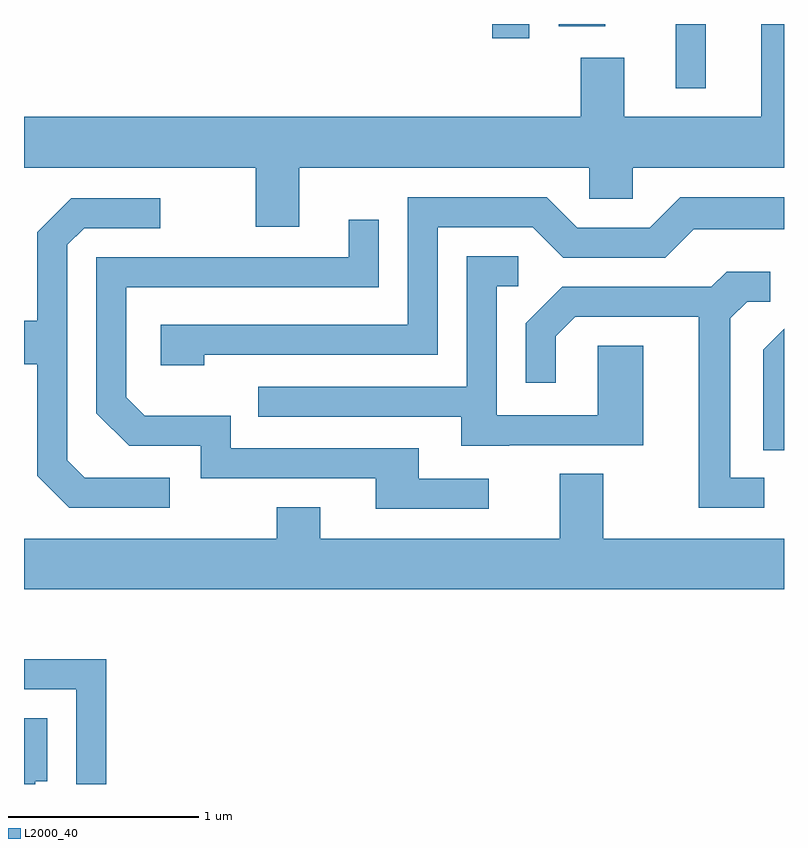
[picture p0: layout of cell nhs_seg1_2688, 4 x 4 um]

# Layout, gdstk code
import gdstk
lib = gdstk.Library(unit=1e-6, precision=1e-09)
def R(c, l, rs):  # rectangles x0, y0, x1, y1
    for r in rs: c.add(gdstk.rectangle(r[:2], r[2:], *l))
def P(c, l, *ps):  # polygons
    for p in ps: c.add(gdstk.Polygon(p, *l))
L2000_40 = (2000, 40)

nhs_seg1_2688 = lib.new_cell('nhs_seg1_2688')
R(nhs_seg1_2688, L2000_40, [(271.041,853.373,271.199,853.712), (270.076,853.636,270.269,853.712), (270.426,853.701,270.669,853.712)])
P(nhs_seg1_2688, L2000_40, [(269.059,852.956),(270.586,852.956),(270.586,852.791),(270.814,852.791),(270.814,852.956),(271.611,852.956),(271.611,853.712),(271.491,853.712),(271.491,853.224),(270.769,853.224),(270.769,853.534),(270.541,853.534),(270.541,853.224),(267.611,853.224),(267.611,852.956),(268.831,852.956),(268.831,852.646),(269.059,852.646)],
  [(268.559,851.971),(269.789,851.971),(269.789,852.641),(270.289,852.641),(270.449,852.481),(270.987,852.481),(271.137,852.631),(271.611,852.631),(271.611,852.799),(271.064,852.799),(270.904,852.639),(270.522,852.639),(270.362,852.799),(269.631,852.799),(269.631,852.129),(268.331,852.129),(268.331,851.916),(268.559,851.916)],
  [(268.378,851.324),(267.932,851.324),(267.839,851.417),(267.839,852.549),(267.927,852.636),(268.328,852.636),(268.328,852.794),(267.859,852.794),(267.681,852.617),(267.681,852.149),(267.611,852.149),(267.611,851.921),(267.681,851.921),(267.681,851.334),(267.849,851.166),(268.378,851.166)],
  [(270.058,851.319),(269.689,851.319),(269.689,851.479),(268.699,851.479),(268.699,851.649),(268.247,851.649),(268.149,851.747),(268.149,852.326),(269.479,852.326),(269.479,852.683),(269.321,852.683),(269.321,852.484),(267.991,852.484),(267.991,851.664),(268.164,851.491),(268.541,851.491),(268.541,851.321),(269.461,851.321),(269.461,851.161),(270.058,851.161)],
  [(270.165,851.496),(270.869,851.496),(270.869,852.019),(270.631,852.019),(270.631,851.654),(270.099,851.654),(270.099,852.331),(270.213,852.331),(270.213,852.489),(269.941,852.489),(269.941,851.804),(268.843,851.804),(268.843,851.646),(269.911,851.646),(269.911,851.491),(270.165,851.491)],
  [(271.508,851.324),(271.329,851.324),(271.329,852.164),(271.417,852.251),(271.538,852.251),(271.538,852.409),(271.309,852.409),(271.229,852.329),(270.444,852.329),(270.251,852.137),(270.251,851.823),(270.409,851.823),(270.409,852.069),(270.512,852.171),(271.161,852.171),(271.161,851.166),(271.508,851.166)],
  [(271.611,852.107),(271.501,851.997),(271.501,851.468),(271.611,851.468)],
  [(271.611,851.004),(270.659,851.004),(270.659,851.344),(270.431,851.344),(270.431,851.004),(269.169,851.004),(269.169,851.169),(268.941,851.169),(268.941,851.004),(267.611,851.004),(267.611,850.736),(271.611,850.736)],
  [(268.044,850.369),(267.611,850.369),(267.611,850.211),(267.886,850.211),(267.886,849.712),(268.044,849.712)],
  [(267.669,849.726),(267.734,849.726),(267.734,850.059),(267.611,850.059),(267.611,849.712),(267.669,849.712)])

lib.write_gds('nhs_seg1_2688.gds')
